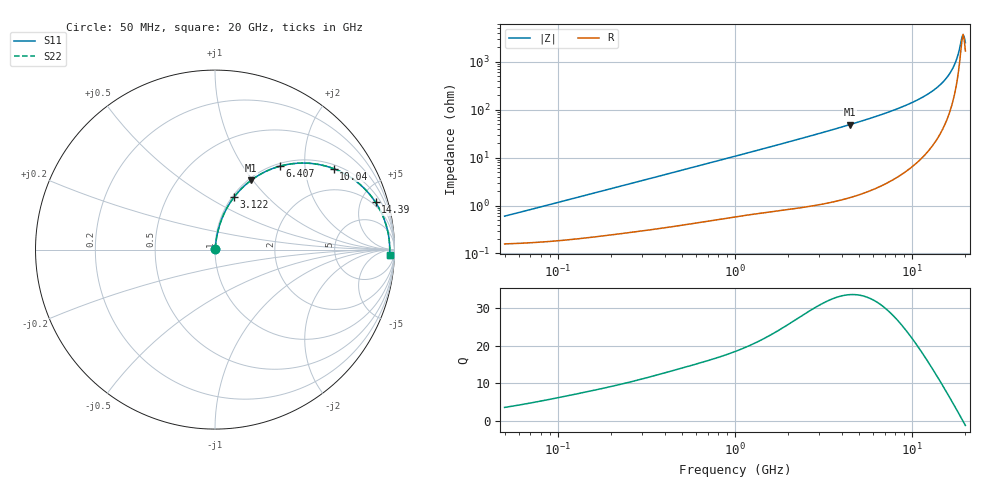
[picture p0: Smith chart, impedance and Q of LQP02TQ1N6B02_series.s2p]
!Murata Part Number: LQP02TQ1N6B02
!These Parameters are Measured in Series Mode Connection
!  o--[Z]--o
!Port1  Port2
!  o-------o
!Freq. Start=50[MHz] Stop=20[GHz], 401[Steps]
# Hz S RI R 50
!Freq.(Hz) S11(Real) S11(Imag) S21(Real) S21(Imag) S12(Real) S12(Imag) S22(Real) S22(Imag)
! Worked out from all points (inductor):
!   401 points, 50 MHz to 20 GHz, reference 50 ohm
!   read as one part in series: L = 1.84 nH near 51.52 MHz
!   highest Q = 33.5 at 4.472 GHz (marker M1), where L = 1.74 nH
!   self-resonance near 19.41 GHz
!   S11 on the Smith chart (normalised r, x): 50 MHz: 1.00, +0.01; 3.122 GHz: 1.02, +0.67; 6.407 GHz: 1.05, +1.49; 10.04 GHz: 1.13, +2.83; 14.39 GHz: 1.62, +6.54; 20 GHz: 35, -37
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5e7  0.00161 0.00577  0.9984 -0.00577  0.9984 -0.00577  0.00161 0.00577
1.364002e8  0.0023 0.0154  0.9977 -0.0154  0.9977 -0.0154  0.0023 0.0154
3.721004e8  0.00493 0.0405  0.9951 -0.0405  0.9951 -0.0405  0.00493 0.0405
1e9  0.0168 0.1041  0.9832 -0.1041  0.9832 -0.1041  0.0168 0.1041
1.689197e9  0.0377 0.1704  0.9623 -0.1704  0.9623 -0.1704  0.0377 0.1704
2.728004e9  0.085 0.2624  0.915 -0.2624  0.915 -0.2624  0.085 0.2624
3.121702e9  0.1075 0.2941  0.8925 -0.2941  0.8925 -0.2941  0.1075 0.2941
4.472136e9  0.2006 0.3858  0.7994 -0.3858  0.7994 -0.3858  0.2006 0.3858
6.406762e9  0.3609 0.4646  0.6391 -0.4646  0.6391 -0.4646  0.3609 0.4646
7.442007e9  0.4509 0.4806  0.5491 -0.4806  0.5491 -0.4806  0.4509 0.4806
1.004137e10  0.6609 0.451  0.3391 -0.451  0.3391 -0.451  0.6609 0.451
1.220001e10  0.7982 0.3713  0.2018 -0.3713  0.2018 -0.3713  0.7982 0.3713
1.438523e10  0.8946 0.2635  0.1054 -0.2635  0.1054 -0.2635  0.8946 0.2635
1.573793e10  0.9336 0.1912  0.0664 -0.1912  0.0664 -0.1912  0.9336 0.1912
1.670968e10  0.9528 0.139  0.0472 -0.139  0.0472 -0.139  0.9528 0.139
1.721783e10  0.9602 0.112  0.0398 -0.112  0.0398 -0.112  0.9602 0.112
1.774144e10  0.966 0.0845  0.034 -0.0845  0.034 -0.0845  0.966 0.0845
1.828096e10  0.9702 0.0566  0.0298 -0.0566  0.0298 -0.0566  0.9702 0.0566
1.88369e10  0.9728 0.0285  0.0272 -0.0285  0.0272 -0.0285  0.9728 0.0285
1.912117e10  0.9735 0.0144  0.0265 -0.0144  0.0265 -0.0144  0.9735 0.0144
1.970266e10  0.9736 -0.0139  0.0264 0.0139  0.0264 0.0139  0.9736 -0.0139
2e10  0.973 -0.028  0.027 0.028  0.027 0.028  0.973 -0.028
